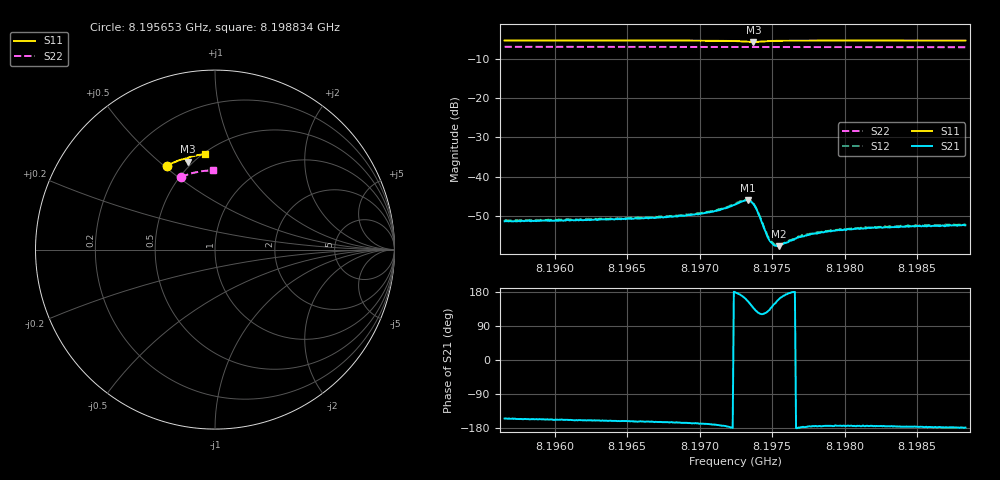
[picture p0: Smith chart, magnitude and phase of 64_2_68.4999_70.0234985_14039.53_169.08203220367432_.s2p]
#  HZ  S  RI  R  50.00
! Rohde & Schwarz Vector Network Analyzer
! Rohde-Schwarz,ZNB20-2Port,1311601062101988,3.16
! Created: UTC 3/20/2024, 4:51:22 PM
! freq[Hz]  re:S11  im:S11  re:S21  im:S21  re:S12  im:S12  re:S22  im:S22
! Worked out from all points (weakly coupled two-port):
!   401 points, 8.195653 GHz to 8.198834 GHz, reference 50 ohm
!   highest |S21| = -46.03 dB at 8.197331 GHz (marker M1); lowest = -57.7 dB at 8.197546 GHz (marker M2)
!   lowest |S11| = -5.8 dB at 8.197371 GHz (marker M3), VSWR 3.11, Z = 23.5 + j31.2 ohm
!   |S11| at or under -10 dB: nowhere
!   |S22| runs from -7.1 to -7.0 dB; largest |S21 - S12| = 0.00027
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8.1956532e9  -0.2686 0.4657  -0.00243 -0.00115  -0.00254 -0.00108  -0.1871 0.4053
8.1961859e9  -0.2346 0.483  -0.0026 -0.001  -0.00269 -0.000912  -0.1594 0.4159
8.1967186e9  -0.1988 0.4981  -0.0029 -0.000852  -0.00301 -0.000754  -0.1307 0.4249
8.1968617e9  -0.1886 0.5016  -0.00306 -0.000821  -0.00312 -0.000668  -0.1231 0.4269
8.1970208e9  -0.1764 0.5051  -0.00333 -0.000705  -0.00343 -0.000555  -0.1144 0.4292
8.1971321e9  -0.1668 0.5068  -0.00368 -0.000526  -0.00382 -0.000393  -0.1082 0.4305
8.1972434e9  -0.1549 0.5058  -0.00441 8.67e-05  -0.00449 0.000266  -0.102 0.4317
8.1972991e9  -0.1489 0.5009  -0.00474 0.00109  -0.00478 0.00131  -0.0988 0.4321
8.1973309e9  -0.1477 0.4958  -0.00455 0.00206  -0.00453 0.0023  -0.0971 0.4325
8.1973547e9  -0.1497 0.4918  -0.0039 0.00274  -0.00387 0.00297  -0.0959 0.4326
8.1973706e9  -0.1525 0.4902  -0.00328 0.00302  -0.00323 0.00321  -0.095 0.4326
8.1974024e9  -0.1585 0.4918  -0.00198 0.00282  -0.00192 0.00299  -0.0936 0.4331
8.1974581e9  -0.1606 0.5007  -0.0011 0.00157  -0.00105 0.00169  -0.0908 0.434
8.1974819e9  -0.1592 0.5039  -0.00104 0.00113  -0.00099 0.0012  -0.0893 0.4341
8.1975137e9  -0.1568 0.507  -0.00112 0.000715  -0.00113 0.000808  -0.0876 0.4346
8.1975297e9  -0.1555 0.5082  -0.00117 0.000588  -0.00119 0.000645  -0.0865 0.4348
8.1975456e9  -0.154 0.5095  -0.00122 0.000447  -0.00128 0.000529  -0.0857 0.4349
8.1976728e9  -0.1433 0.515  -0.00167 -1.01e-06  -0.00169 3e-05  -0.0784 0.436
8.1977761e9  -0.1348 0.5177  -0.00187 -0.00017  -0.00187 -8.5e-05  -0.0729 0.4368
8.1979829e9  -0.1193 0.5217  -0.00207 -0.000208  -0.00212 -0.000147  -0.0611 0.4382
8.1983089e9  -0.0957 0.5265  -0.00224 -0.0002  -0.00233 -8.38e-05  -0.0429 0.4399
8.1988337e9  -0.0582 0.5314  -0.00239 -6.96e-05  -0.00244 4.78e-05  -0.0132 0.4409
